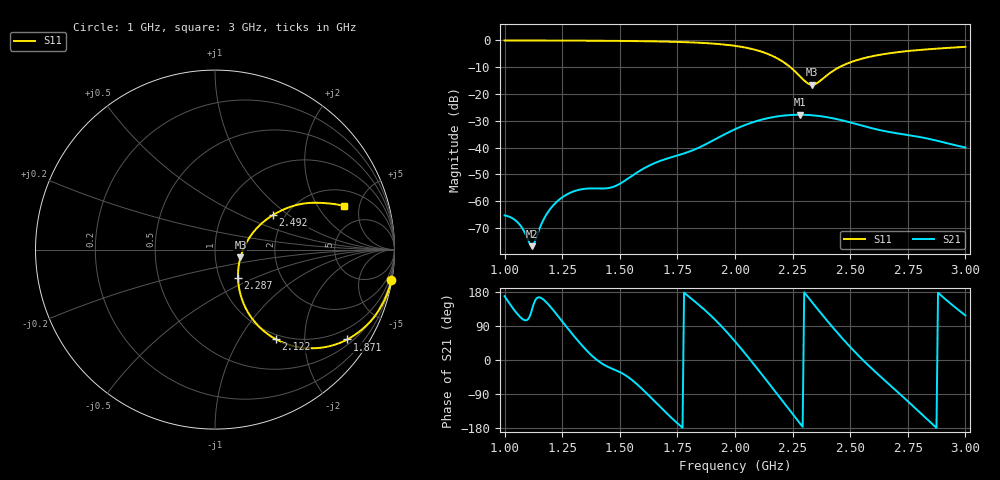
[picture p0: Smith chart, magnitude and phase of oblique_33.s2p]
! TOUCHSTONE file generated by CST MICROWAVE STUDIO
! Date and time: Tue Mar 18 00:00:59 2025
! Project name: oblique.cst
! Parameters = {Tilt=30; Fracture=1; B=10; D=160; F=15; Feed=2.85625; L=100; M=30; R=0.384908; S=2; Theta=270; length=57.125; wave=114.25}
! Header version: 2024
! Port assignment regex: !\s*Touchstone port\s*([0-9]+)\s*=\s*(CST MWS port|CST DES external port|CST DES block port)\s*(.+)\s* \(\"(.*)\"\)(\s*mode\s*([0-9]+))?.*
! Touchstone port assignment:
! Touchstone port 1 = CST MWS port 1 ("")
! Touchstone port 2 = CST MWS port 2 ("")
# GHz S DB R 50
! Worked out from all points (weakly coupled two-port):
!   304 points, 1 GHz to 3 GHz, reference 50 ohm
!   highest |S21| = -27.76 dB at 2.281 GHz (marker M1); lowest = -76.8 dB at 1.119 GHz (marker M2)
!   lowest |S11| = -16.6 dB at 2.333 GHz (marker M3), VSWR 1.35, Z = 66.2 - j5.9 ohm
!   |S11| at or under -10 dB: 2.24 GHz to 2.453 GHz (212.9 MHz wide, 9.07 % of centre)
!   S12 and S22 are empty: the file has one direction only
!   S11 on the Smith chart (normalised r, x): 1 GHz: 0, -12; 1.871 GHz: 0.64, -3.13; 2.122 GHz: 0.93, -1.45; 2.287 GHz: 1.22, -0.40; 2.492 GHz: 1.73, +0.78; 3 GHz: 3.08, +3.51
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1  -0.02 -9.8  -65.36 168.4  -200.00 0.0  -200.00 0.0
1.05941  -0.03 -10.6  -68.20 118.7  -200.00 0.0  -200.00 0.0
1.11881  -0.03 -11.5  -76.85 132.7  -200.00 0.0  -200.00 0.0
1.12541  -0.04 -11.6  -76.32 146.3  -200.00 0.0  -200.00 0.0
1.17162  -0.05 -12.3  -66.49 157.9  -200.00 0.0  -200.00 0.0
1.21122  -0.06 -13.0  -61.58 131.4  -200.00 0.0  -200.00 0.0
1.27063  -0.07 -14.0  -57.51 86.1  -200.00 0.0  -200.00 0.0
1.33663  -0.10 -15.2  -55.55 37.9  -200.00 0.0  -200.00 0.0
1.47525  -0.18 -18.4  -54.58 -25.1  -200.00 0.0  -200.00 0.0
1.66667  -0.38 -24.2  -45.29 -118.6  -200.00 0.0  -200.00 0.0
1.87129  -1.00 -34.2  -38.87 130.6  -200.00 0.0  -200.00 0.0
2.0033  -2.08 -44.2  -33.05 46.8  -200.00 0.0  -200.00 0.0
2.12211  -4.40 -55.9  -29.44 -42.3  -200.00 0.0  -200.00 0.0
2.20792  -7.96 -62.2  -28.10 -109.4  -200.00 0.0  -200.00 0.0
2.28053  -13.27 -53.5  -27.76 -166.1  -200.00 0.0  -200.00 0.0
2.28713  -13.85 -50.8  -27.77 -171.2  -200.00 0.0  -200.00 0.0
2.33333  -16.57 -17.1  -27.95 153.3  -200.00 0.0  -200.00 0.0
2.33993  -16.53 -11.0  -28.00 148.3  -200.00 0.0  -200.00 0.0
2.43234  -11.01 28.5  -29.22 80.4  -200.00 0.0  -200.00 0.0
2.49175  -8.47 30.8  -30.44 39.8  -200.00 0.0  -200.00 0.0
2.66997  -4.80 26.8  -34.21 -64.7  -200.00 0.0  -200.00 0.0
3  -2.41 18.6  -39.98 117.6  -200.00 0.0  -200.00 0.0
